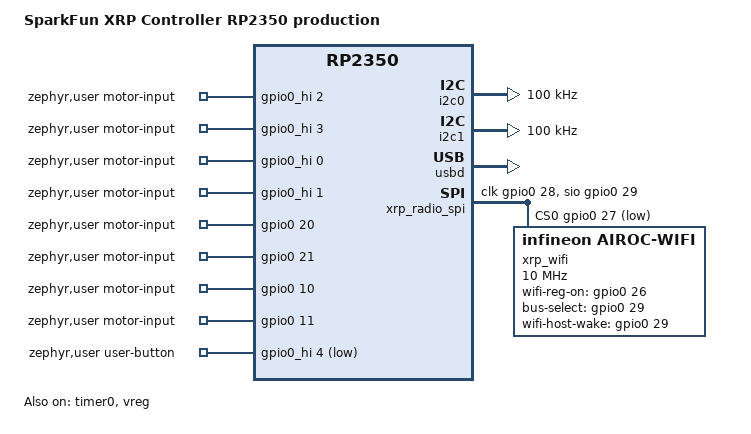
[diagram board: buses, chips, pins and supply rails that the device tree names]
/* SPDX-License-Identifier: Apache-2.0
 * RP2350B composition: Zephyr Metro RP2350, Pete Johanson 2025.
 * RM2 PIO composition adapted from Zephyr RP2350B Plus W:
 * Copyright (c) 2024 Andrew Featherstone
 * Copyright (c) 2026 Matheus de Alencar; MASSDRIVER EI (massdriver.space).
 * Production XRP wiring: SparkFun schematic 86c4cd7f, factual pin mapping. */
/dts-v1/;
#include <raspberrypi/rpi_pico/rp2350b.dtsi>
#include <raspberrypi/rpi_pico/m33.dtsi>
#include <zephyr/dt-bindings/gpio/gpio.h>
#include <zephyr/dt-bindings/i2c/i2c.h>
#include "sparkfun_xrp-pinctrl.dtsi"
/ {
    model = "SparkFun XRP Controller RP2350 production";
    compatible = "sparkfun,xrp-rp2350";
    chosen {
        zephyr,sram = &sram0;
        zephyr,flash = &flash0;
        zephyr,flash-controller = &qmi;
        zephyr,code-partition = &code_partition;
    };
    zephyr,user {
        /* Eight DRV8411A inputs, logical order L/R/3/4. All low = coast. */
        motor-input-gpios = <&gpio0_hi 2 GPIO_ACTIVE_HIGH>, <&gpio0_hi 3 GPIO_ACTIVE_HIGH>,
            <&gpio0_hi 0 GPIO_ACTIVE_HIGH>, <&gpio0_hi 1 GPIO_ACTIVE_HIGH>,
            <&gpio0 20 GPIO_ACTIVE_HIGH>, <&gpio0 21 GPIO_ACTIVE_HIGH>,
            <&gpio0 10 GPIO_ACTIVE_HIGH>, <&gpio0 11 GPIO_ACTIVE_HIGH>;
        user-button-gpios = <&gpio0_hi 4 GPIO_ACTIVE_LOW>;
    };
};
&flash0 {
    reg = <0x10000000 DT_SIZE_M(16)>;
    ranges = <0x0 0x10000000 DT_SIZE_M(16)>;
    partitions {
        ranges;
        #address-cells = <1>;
        #size-cells = <1>;
        code_partition: partition@0 {
            compatible = "zephyr,mapped-partition";
            label = "code-partition";
            reg = <0x0 DT_SIZE_M(8)>;
            read-only;
        };
        wifi_settings: partition@f80000 {
            compatible = "zephyr,mapped-partition";
            label = "wifi-settings";
            reg = <0xf80000 0x10000>;
        };
        vmstore: partition@fc0000 {
            compatible = "zephyr,mapped-partition";
            label = "vmstore";
            reg = <0xfc0000 0x40000>;
        };
    };
};
&gpio0 { status = "okay"; };
&gpio0_hi { status = "okay"; };
&i2c0 {
    clock-frequency = <I2C_BITRATE_STANDARD>;
    pinctrl-0 = <&i2c0_default>; pinctrl-names = "default";
    status = "okay";
};
&i2c1 {
    clock-frequency = <I2C_BITRATE_STANDARD>;
    pinctrl-0 = <&i2c1_default>; pinctrl-names = "default";
    status = "okay";
};
&timer0 { status = "okay"; };
&vreg { status = "okay"; };
zephyr_udc0: &usbd { status = "okay"; };
/* PIO0 is reserved for RM2. No motor/servo/RGB pinctrl is enabled at boot.
 * Firmware/CLM blobs retain their separate upstream redistribution terms. */
&pio0 {
    status = "okay";
    xrp_radio_spi: spi {
        compatible = "raspberrypi,pico-spi-pio";
        clocks = <&clocks RPI_PICO_CLKID_CLK_SYS>;
        #address-cells = <1>; #size-cells = <0>;
        cs-gpios = <&gpio0 27 GPIO_ACTIVE_LOW>;
        clk-gpios = <&gpio0 28 GPIO_ACTIVE_HIGH>;
        sio-gpios = <&gpio0 29 GPIO_ACTIVE_HIGH>;
        pinctrl-0 = <&xrp_radio_clock>; pinctrl-names = "default";
        status = "okay";
        xrp_wifi: wifi@0 {
            compatible = "infineon,airoc-wifi";
            reg = <0>;
            wifi-reg-on-gpios = <&gpio0 26 GPIO_ACTIVE_HIGH>;
            bus-select-gpios = <&gpio0 29 GPIO_ACTIVE_HIGH>;
            wifi-host-wake-gpios = <&gpio0 29 GPIO_ACTIVE_HIGH>;
            spi-max-frequency = <10000000>;
            spi-half-duplex;
            spi-data-irq-shared;
            pinctrl-0 = <&xrp_radio_data>;
            pinctrl-1 = <&xrp_radio_irq>;
            pinctrl-names = "default", "host_wake";
            status = "okay";
            xrp_radio_gpio: gpio {
                compatible = "infineon,cyw43-gpio";
                gpio-controller; #gpio-cells = <2>; ngpios = <3>;
            };
        };
    };
};
